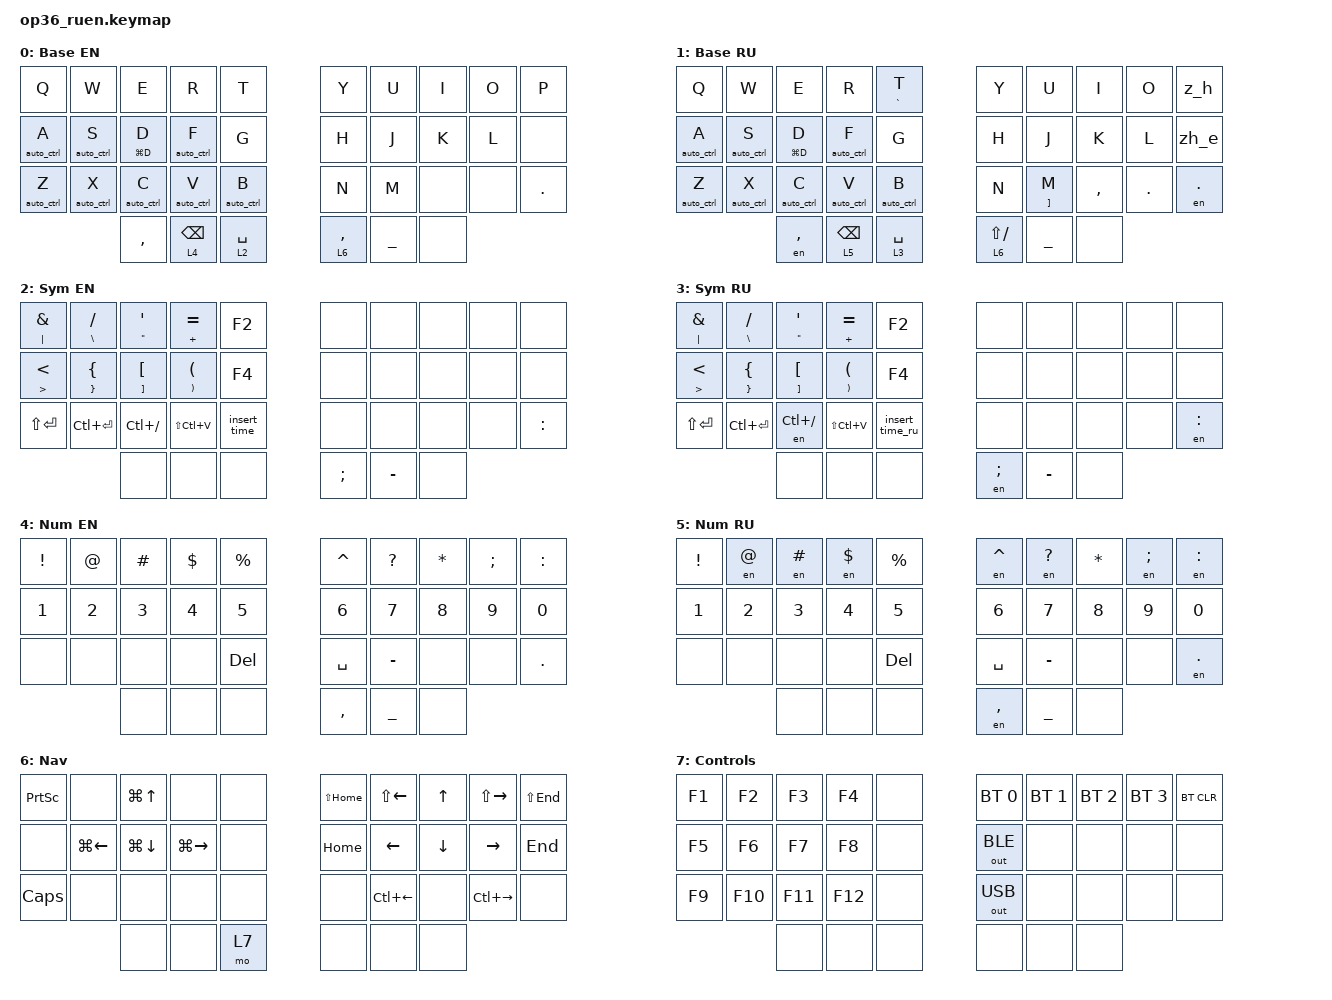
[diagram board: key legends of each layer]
#include "keys_ru.h"
#include "keys_ru.h"
#include <behaviors.dtsi>
#include <dt-bindings/zmk/bt.h>
#include <dt-bindings/zmk/keys.h>
#include <dt-bindings/zmk/outputs.h>

&mt {
    quick-tap-ms = <200>;
    flavor = "tap-preferred";
    require-prior-idle-ms = <125>;
};

/ {
    behaviors {
        z_h: z_h {
            compatible = "zmk,behavior-tap-dance";
            label = "Z_H";
            #binding-cells = <0>;
            bindings = <&kp P>, <&kp LEFT_BRACKET>;
        };

        zh_e: zh_e {
            compatible = "zmk,behavior-tap-dance";
            label = "ZH_E";
            #binding-cells = <0>;
            bindings = <&kp SEMICOLON>, <&kp SINGLE_QUOTE>;
        };

        ht_kp_kp: ht_kp_kp {
            compatible = "zmk,behavior-hold-tap";
            label = "HT_KP_KP";
            bindings = <&kp>, <&kp>;

            #binding-cells = <2>;
            tapping-term-ms = <300>;
            flavor = "tap-preferred";
        };

        ht_ashift: ht_ashift {
            compatible = "zmk,behavior-hold-tap";
            label = "HT_ASHIFT";
            bindings = <&with_shift>, <&kp>;

            #binding-cells = <2>;
            tapping-term-ms = <300>;
            flavor = "tap-preferred";
        };

        ht_actrl: ht_actrl {
            compatible = "zmk,behavior-hold-tap";
            label = "HT_ACTRL";
            bindings = <&with_ctrl>, <&kp>;

            #binding-cells = <2>;
            tapping-term-ms = <300>;
            flavor = "tap-preferred";
        };

        ht_en_kp: ht_en_kp {
            compatible = "zmk,behavior-hold-tap";
            label = "HT_EN_KP";
            bindings = <&en>, <&kp>;

            #binding-cells = <2>;
            tapping-term-ms = <300>;
            flavor = "tap-preferred";
        };

        ht_kp_en: ht_kp_en {
            compatible = "zmk,behavior-hold-tap";
            label = "HT_KP_EN";
            bindings = <&kp>, <&en>;

            #binding-cells = <2>;
            tapping-term-ms = <300>;
            flavor = "tap-preferred";
        };

        ht_en_en: ht_en_en {
            compatible = "zmk,behavior-hold-tap";
            label = "HT_EN_EN";
            bindings = <&en>, <&en>;

            #binding-cells = <2>;
            tapping-term-ms = <300>;
            flavor = "tap-preferred";
        };

        lt_hold: lt_hold {
            compatible = "zmk,behavior-hold-tap";
            label = "LT_HOLD";
            bindings = <&mo>, <&kp>;

            #binding-cells = <2>;
            tapping-term-ms = <200>;
            quick-tap-ms = <200>;
        };

        lt_balanced: lt_balanced {
            compatible = "zmk,behavior-hold-tap";
            label = "LT_BALANCED";
            bindings = <&mo>, <&kp>;

            #binding-cells = <2>;
            tapping-term-ms = <300>;
            quick-tap-ms = <200>;
            flavor = "balanced";
        };

        lt_hold_nav: lt_hold_nav {
            compatible = "zmk,behavior-hold-tap";
            label = "LT_HOLD_NAV";
            bindings = <&mo>, <&kp>;

            #binding-cells = <2>;
            tapping-term-ms = <200>;
            quick-tap-ms = <200>;
            hold-trigger-key-positions = <16 17 18 6 7 8 15 19 26 28 0 20 11 12 13 2 5 9>;
        };
    };

    combos {
        compatible = "zmk,combos";

        left_shift {
            bindings = <&kp LEFT_SHIFT>;
            key-positions = <20 32>;
        };

        left_ctrl {
            bindings = <&kp LCTRL>;
            key-positions = <21 32>;
        };

        left_alt {
            bindings = <&kp LEFT_ALT>;
            key-positions = <30 32>;
        };

        tab {
            bindings = <&auto_shift TAB>;
            key-positions = <10 32>;
        };

        esc {
            bindings = <&ht_kp_kp LA(F4) ESC>;
            key-positions = <0 32>;
        };

        full_switch_ru {
            bindings = <&full_ru>;
            key-positions = <27 28>;
            layers = <0 1>;
        };

        full_switch_en {
            bindings = <&full_en>;
            key-positions = <21 22>;
            layers = <1 0>;
        };

        enter {
            bindings = <&kp ENTER>;
            key-positions = <32 14>;
        };

        ctrl_alt_tab {
            bindings = <&kp LA(LC(TAB))>;
            key-positions = <30 10>;
        };

        left_ctrl_shift {
            bindings = <&kp LC(LEFT_SHIFT)>;
            key-positions = <20 21>;
        };

        left_ctrl_alt {
            bindings = <&kp LC(LEFT_ALT)>;
            key-positions = <21 30>;
        };

        left_shift_alt {
            bindings = <&kp LS(LEFT_ALT)>;
            key-positions = <30 20>;
        };

        left_ctrl_shift_alt {
            bindings = <&kp LS(LC(LEFT_ALT))>;
            key-positions = <30 20 21>;
        };

        win {
            bindings = <&kp LEFT_GUI>;
            key-positions = <27 33>;
        };

        shift_delete {
            bindings = <&kp LS(DEL)>;
            key-positions = <20 24>;
        };

        right_shift {
            bindings = <&kp LEFT_SHIFT>;
            key-positions = <33 29>;
        };

        right_ctrl {
            bindings = <&kp LCTRL>;
            key-positions = <28 33>;
        };

        right_alt {
            bindings = <&kp LEFT_ALT>;
            key-positions = <35 33>;
        };

        right_ctrl_shift {
            bindings = <&kp LC(LEFT_SHIFT)>;
            key-positions = <28 29>;
        };

        right_ctrl_alt {
            bindings = <&kp LC(LEFT_ALT)>;
            key-positions = <35 28>;
        };

        right_shift_alt {
            bindings = <&kp LS(LEFT_ALT)>;
            key-positions = <35 29>;
        };

        right_ctrl_shift_alt {
            bindings = <&kp LS(LC(LEFT_ALT))>;
            key-positions = <35 28 29>;
        };

        ctrl_c {
            bindings = <&kp LC(C)>;
            key-positions = <32 1>;
        };

        ctrl_v {
            bindings = <&kp LC(V)>;
            key-positions = <2 32>;
        };

        space_eq_space {
            bindings = <&space_eq_space>;
            key-positions = <32 3>;
        };

        space_minus_space {
            bindings = <&space_minus_space>;
            key-positions = <31 34>;
        };
    };

    macros {
        sys_ru: m_sys_ru {
            compatible = "zmk,behavior-macro";
            #binding-cells = <0>;
            bindings =
                <&macro_press>,
                <&kp LEFT_SHIFT &kp LEFT_ALT>,
                <&macro_tap>,
                <&kp N1>,
                <&macro_release>,
                <&kp LEFT_ALT &kp LEFT_SHIFT>;

            label = "M_SYS_RU";
            wait-ms = <0>;
            tap-ms = <30>;
        };

        full_en: m_full_en {
            compatible = "zmk,behavior-macro";
            #binding-cells = <0>;
            bindings = <&sys_en &to 0>;
            label = "M_FULL_EN";
            wait-ms = <0>;
            tap-ms = <30>;
        };

        full_ru: m_full_ru {
            compatible = "zmk,behavior-macro";
            #binding-cells = <0>;
            bindings = <&sys_ru &to 1>;
            label = "M_FULL_RU";
            tap-ms = <30>;
            wait-ms = <0>;
        };

        en: m_kp_en {
            compatible = "zmk,behavior-macro-one-param";
            #binding-cells = <1>;
            bindings =
                <&sys_en>,
                <&macro_press>,
                <&macro_param_1to1 &kp MACRO_PLACEHOLDER>,
                <&macro_pause_for_release>,
                <&macro_release>,
                <&macro_param_1to1 &kp MACRO_PLACEHOLDER>,
                <&macro_tap>,
                <&sys_ru>;

            label = "M_KP_EN";
            wait-ms = <0>;
            tap-ms = <30>;
        };

        with_shift: shifted {
            compatible = "zmk,behavior-macro-one-param";
            #binding-cells = <1>;
            bindings =
                <&macro_press>,
                <&kp LEFT_SHIFT>,
                <&macro_tap>,
                <&macro_param_1to1 &kp MACRO_PLACEHOLDER>,
                <&macro_release>,
                <&kp LEFT_SHIFT>;

            label = "SHIFTED";
        };

        with_ctrl: m_ctrl {
            compatible = "zmk,behavior-macro-one-param";
            #binding-cells = <1>;
            bindings =
                <&macro_press>,
                <&kp LCTRL>,
                <&macro_tap>,
                <&macro_param_1to1 &kp MACRO_PLACEHOLDER>,
                <&macro_release>,
                <&kp LCTRL>;

            label = "M_CTRL";
        };

        auto_shift: m_ashift {
            compatible = "zmk,behavior-macro-one-param";
            #binding-cells = <1>;
            bindings =
                <&macro_press>,
                <&macro_param_1to1 &macro_param_1to2 &ht_ashift MACRO_PLACEHOLDER MACRO_PLACEHOLDER>,
                <&macro_pause_for_release>,
                <&macro_release>,
                <&macro_param_1to1 &macro_param_1to2 &ht_ashift MACRO_PLACEHOLDER MACRO_PLACEHOLDER>;

            label = "M_ASHIFT";
        };

        auto_ctrl: m_actrl {
            compatible = "zmk,behavior-macro-one-param";
            #binding-cells = <1>;
            bindings =
                <&macro_press>,
                <&macro_param_1to1 &macro_param_1to2 &ht_actrl MACRO_PLACEHOLDER MACRO_PLACEHOLDER>,
                <&macro_pause_for_release>,
                <&macro_release>,
                <&macro_param_1to1 &macro_param_1to2 &ht_actrl MACRO_PLACEHOLDER MACRO_PLACEHOLDER>;

            label = "M_ACTRL";
        };

        sys_en: sys_en {
            compatible = "zmk,behavior-macro";
            #binding-cells = <0>;
            bindings =
                <&macro_press>,
                <&kp LEFT_SHIFT &kp LEFT_ALT>,
                <&macro_tap>,
                <&kp N0>,
                <&macro_release>,
                <&kp LEFT_ALT &kp LEFT_SHIFT>;

            label = "SYS_EN";
            wait-ms = <0>;
            tap-ms = <30>;
        };

        space_eq_space: space_eq_space {
            compatible = "zmk,behavior-macro";
            #binding-cells = <0>;
            bindings =
                <&macro_tap>,
                <&kp SPACE>,
                <&macro_tap>,
                <&kp EQUAL>,
                <&macro_tap>,
                <&kp SPACE>;

            label = "SPACE_EQ_SPACE";
        };

        insert_time: insert_time {
            compatible = "zmk,behavior-macro";
            #binding-cells = <0>;
            bindings =
                <&macro_press>,
                <&kp LEFT_SHIFT &kp LCTRL &kp LEFT_ALT>,
                <&macro_tap>,
                <&kp SEMI>,
                <&macro_release>,
                <&kp LEFT_SHIFT &kp LCTRL &kp LEFT_ALT>;

            label = "INSERT_TIME";
        };

        insert_time_ru: insert_time_ru {
            compatible = "zmk,behavior-macro";
            #binding-cells = <0>;
            bindings = <&sys_en &insert_time &sys_ru>;
            label = "INSERT_TIME_RU";
        };

        space_minus_space: space_dash_space {
            compatible = "zmk,behavior-macro";
            #binding-cells = <0>;
            bindings =
                <&macro_tap>,
                <&kp SPACE>,
                <&macro_tap>,
                <&kp MINUS>,
                <&macro_tap>,
                <&kp SPACE>;

            label = "SPACE_DASH_SPACE";
        };
    };

    keymap {
        compatible = "zmk,keymap";

        base_en {
            bindings = <
  &kp Q         &kp W         &kp E              &kp R         &kp T                                                           &kp Y      &kp U  &kp I  &kp O  &kp P
  &auto_ctrl A  &auto_ctrl S  &ht_kp_kp LG(D) D  &auto_ctrl F  &kp G                                                           &kp H      &kp J  &kp K  &kp L  &none
  &auto_ctrl Z  &auto_ctrl X  &auto_ctrl C       &auto_ctrl V  &auto_ctrl B                                                    &kp N      &kp M  &none  &none  &kp DOT
                                                 &kp COMMA     &lt_hold 4 BACKSPACE  &lt_hold 2 SPACE    &lt_hold_nav 6 COMMA  &kp UNDER  &none
            >;

            display-name = "Base EN";
            label = "Base EN";
        };

        base_ru {
            display-name = "Base RU";
            bindings = <
  &kp Q         &kp W         &kp E              &kp R         &ht_kp_kp GRAVE T                                                   &kp Y      &kp U                      &kp I      &kp O    &z_h
  &auto_ctrl A  &auto_ctrl S  &ht_kp_kp LG(D) D  &auto_ctrl F  &kp G                                                               &kp H      &kp J                      &kp K      &kp L    &zh_e
  &auto_ctrl Z  &auto_ctrl X  &auto_ctrl C       &auto_ctrl V  &auto_ctrl B                                                        &kp N      &ht_kp_kp RIGHT_BRACKET M  &kp COMMA  &kp DOT  &en DOT
                                                 &en COMMA     &lt_hold 5 BACKSPACE  &lt_hold 3 SPACE    &lt_hold_nav 6 LS(SLASH)  &kp UNDER  &none
            >;
        };

        sym_en {
            bindings = <
  &ht_kp_kp PIPE AMPERSAND          &ht_kp_kp BACKSLASH SLASH         &ht_kp_kp DOUBLE_QUOTES SINGLE_QUOTE  &ht_kp_kp PLUS EQUAL                          &kp F2                           &none      &none  &none  &none  &none
  &ht_kp_kp GREATER_THAN LESS_THAN  &ht_kp_kp RIGHT_BRACE LEFT_BRACE  &ht_kp_kp RIGHT_BRACKET LEFT_BRACKET  &ht_kp_kp RIGHT_PARENTHESIS LEFT_PARENTHESIS  &kp F4                           &none      &none  &none  &none  &none
  &kp LS(ENTER)                     &kp LC(ENTER)                     &kp LC(SLASH)                         &kp LS(LC(V))                                 &insert_time                     &none      &none  &none  &none  &kp COLON
                                                                                                            &none                                         &none         &none    &kp SEMI  &kp MINUS  &none
            >;

            label = "Sym EN";
        };

        sym_ru {
            label = "Sym RU";
            bindings = <
  &ht_en_en PIPE AMPERSAND          &ht_en_en BACKSLASH SLASH         &ht_en_en DOUBLE_QUOTES SINGLE_QUOTE  &ht_kp_kp PLUS EQUAL                          &kp F2                              &none      &none  &none  &none  &none
  &ht_en_en GREATER_THAN LESS_THAN  &ht_en_en RIGHT_BRACE LEFT_BRACE  &ht_en_en RIGHT_BRACKET LEFT_BRACKET  &ht_kp_kp RIGHT_PARENTHESIS LEFT_PARENTHESIS  &kp F4                              &none      &none  &none  &none  &none
  &kp LS(ENTER)                     &kp LC(ENTER)                     &en LC(SLASH)                         &kp LS(LC(V))                                 &insert_time_ru                     &none      &none  &none  &none  &en COLON
                                                                                                            &none                                         &none            &none    &en SEMI  &kp MINUS  &none
            >;
        };

        num_en {
            bindings = <
  &kp EXCL  &kp AT  &kp HASH  &kp DOLLAR  &kp PERCENT                      &kp CARET  &kp QUESTION  &kp ASTERISK  &kp SEMI  &kp COLON
  &kp N1    &kp N2  &kp N3    &kp N4      &kp N5                           &kp N6     &kp N7        &kp N8        &kp N9    &kp N0
  &none     &none   &none     &none       &kp DELETE                       &kp SPACE  &kp MINUS     &none         &none     &kp DOT
                              &none       &none        &none    &kp COMMA  &kp UNDER  &none
            >;

            label = "Num EN";
        };

        num_ru {
            bindings = <
  &kp EXCL  &en AT  &en HASH  &en DOLLAR  &kp PERCENT                      &en CARET  &en QUESTION  &kp ASTERISK  &en SEMI  &en COLON
  &kp N1    &kp N2  &kp N3    &kp N4      &kp N5                           &kp N6     &kp N7        &kp N8        &kp N9    &kp N0
  &none     &none   &none     &none       &kp DELETE                       &kp SPACE  &kp MINUS     &none         &none     &en DOT
                              &none       &none        &none    &en COMMA  &kp UNDER  &none
            >;

            label = "Num RU";
        };

        nav {
            bindings = <
  &kp PRINTSCREEN  &none         &kp LG(UP_ARROW)    &none          &none                  &kp LS(HOME)  &kp LS(LEFT)  &kp UP_ARROW  &kp LS(RIGHT)  &kp LS(END)
  &none            &kp LG(LEFT)  &kp LG(DOWN_ARROW)  &kp LG(RIGHT)  &none                  &kp HOME      &kp LEFT      &kp DOWN      &kp RIGHT      &kp END
  &kp CLCK         &none         &none               &none          &none                  &none         &kp LC(LEFT)  &none         &kp LC(RIGHT)  &none
                                                     &none          &none  &mo 7    &none  &none         &none
            >;

            label = "Nav";
        };

        controls {
            bindings = <
  &kp F1  &kp F2   &kp F3   &kp F4   &none                  &bt BT_SEL 0  &bt BT_SEL 1  &bt BT_SEL 2  &bt BT_SEL 3  &bt BT_CLR
  &kp F5  &kp F6   &kp F7   &kp F8   &none                  &out OUT_BLE  &none         &none         &none         &none
  &kp F9  &kp F10  &kp F11  &kp F12  &none                  &out OUT_USB  &none         &none         &none         &none
                            &none    &none  &none    &none  &none         &none
            >;

            display-name = "Controls";
        };
    };
};
